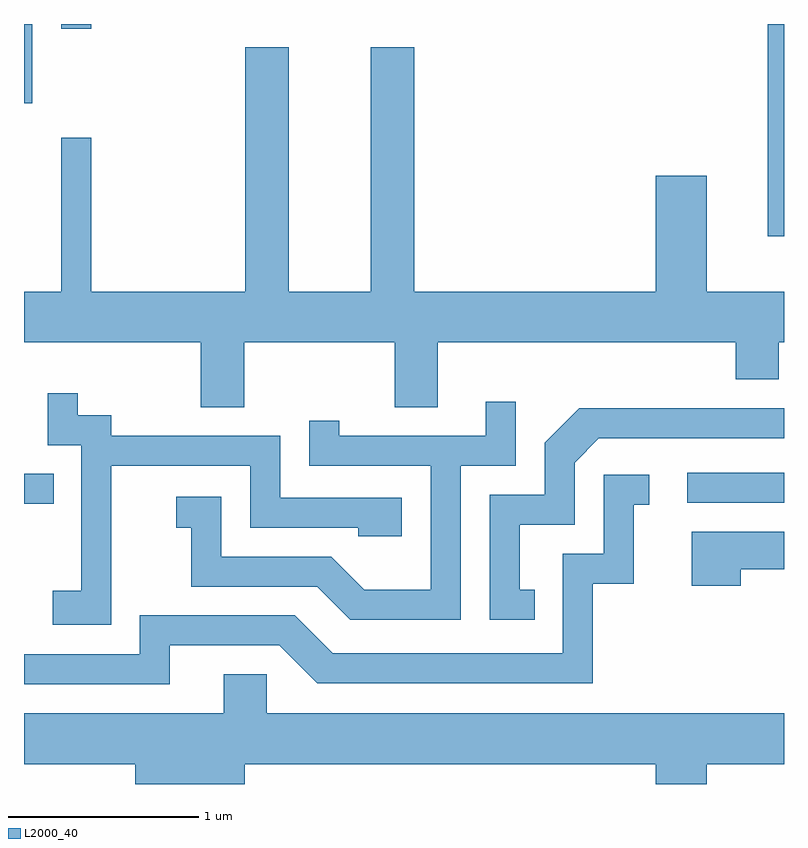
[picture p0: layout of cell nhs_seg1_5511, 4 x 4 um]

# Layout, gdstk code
import gdstk
lib = gdstk.Library(unit=1e-6, precision=1e-09)
def R(c, l, rs):  # rectangles x0, y0, x1, y1
    for r in rs: c.add(gdstk.rectangle(r[:2], r[2:], *l))
def P(c, l, *ps):  # polygons
    for p in ps: c.add(gdstk.Polygon(p, *l))
L2000_40 = (2000, 40)

nhs_seg1_5511 = lib.new_cell('nhs_seg1_5511')
R(nhs_seg1_5511, L2000_40, [(351.611,883.186,351.768,883.344), (355.103,883.191,355.611,883.349), (355.526,884.596,355.611,885.712), (351.611,885.296,351.654,885.712), (351.806,885.688,351.964,885.712)])
P(nhs_seg1_5511, L2000_40, [(352.769,884.036),(353.561,884.036),(353.561,883.696),(353.789,883.696),(353.789,884.036),(355.356,884.036),(355.356,883.841),(355.584,883.841),(355.584,884.036),(355.611,884.036),(355.611,884.304),(355.204,884.304),(355.204,884.914),(354.936,884.914),(354.936,884.304),(353.664,884.304),(353.664,885.589),(353.436,885.589),(353.436,884.304),(353.004,884.304),(353.004,885.589),(352.776,885.589),(352.776,884.304),(351.964,884.304),(351.964,885.113),(351.806,885.113),(351.806,884.304),(351.611,884.304),(351.611,884.036),(352.541,884.036),(352.541,883.696),(352.769,883.696)],
  [(352.069,883.386),(352.801,883.386),(352.801,883.061),(353.371,883.061),(353.371,883.016),(353.599,883.016),(353.599,883.219),(352.959,883.219),(352.959,883.544),(352.069,883.544),(352.069,883.654),(351.894,883.654),(351.894,883.768),(351.736,883.768),(351.736,883.496),(351.911,883.496),(351.911,882.729),(351.761,882.729),(351.761,882.551),(352.069,882.551)],
  [(353.909,883.386),(354.199,883.386),(354.199,883.723),(354.041,883.723),(354.041,883.544),(353.269,883.544),(353.269,883.623),(353.111,883.623),(353.111,883.386),(353.751,883.386),(353.751,882.734),(353.402,882.734),(353.227,882.909),(352.649,882.909),(352.649,883.224),(352.413,883.224),(352.413,883.061),(352.491,883.061),(352.491,882.751),(353.154,882.751),(353.329,882.576),(353.909,882.576)],
  [(354.298,882.734),(354.219,882.734),(354.219,883.076),(354.509,883.076),(354.509,883.404),(354.637,883.531),(355.611,883.531),(355.611,883.689),(354.534,883.689),(354.351,883.507),(354.351,883.234),(354.061,883.234),(354.061,882.576),(354.298,882.576)],
  [(352.379,882.441),(352.954,882.441),(353.154,882.241),(354.604,882.241),(354.604,882.766),(354.819,882.766),(354.819,883.181),(354.903,883.181),(354.903,883.339),(354.661,883.339),(354.661,882.924),(354.446,882.924),(354.446,882.399),(353.237,882.399),(353.037,882.599),(352.221,882.599),(352.221,882.394),(351.611,882.394),(351.611,882.236),(352.379,882.236)],
  [(355.384,882.841),(355.611,882.841),(355.611,883.039),(355.126,883.039),(355.126,882.756),(355.384,882.756)],
  [(352.661,882.289),(352.661,882.084),(351.611,882.084),(351.611,881.816),(352.196,881.816),(352.196,881.712),(352.774,881.712),(352.774,881.816),(354.936,881.816),(354.936,881.712),(355.204,881.712),(355.204,881.816),(355.611,881.816),(355.611,882.084),(352.889,882.084),(352.889,882.289)])

lib.write_gds('nhs_seg1_5511.gds')
